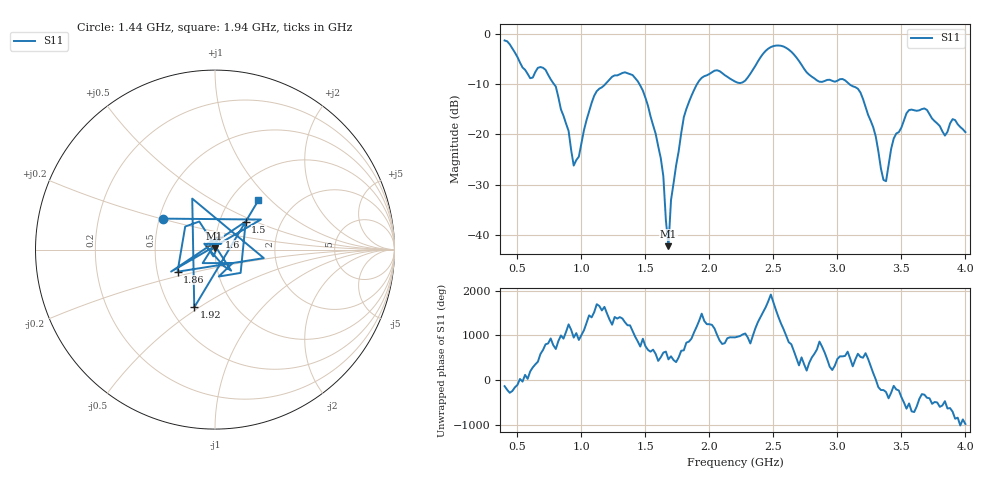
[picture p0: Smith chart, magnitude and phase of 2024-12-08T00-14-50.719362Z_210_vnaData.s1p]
!Created with skrf (http://scikit-rf.org).
# Hz S RI R 50.0
!freq ReS11 ImS11
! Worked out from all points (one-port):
!   181 points, 400 MHz to 4 GHz, reference 50 ohm
!   lowest |S11| = -42.2 dB at 1.68 GHz (marker M1), VSWR 1.02, Z = 49.8 + j0.745 ohm
!   |S11| at or under -10 dB: 785.7 MHz to 1.187 GHz (401.3 MHz wide, 40.7 % of centre); 1.453 GHz to 1.903 GHz (450.1 MHz wide, 26.8 % of centre); 3.094 GHz to end of sweep
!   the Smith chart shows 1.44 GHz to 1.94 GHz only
!   S11 on the Smith chart (normalised r, x): 1.44 GHz: 0.52, +0.20; 1.5 GHz: 1.33, +0.44; 1.6 GHz: 1.04, +0.15; 1.86 GHz: 0.64, -0.17; 1.92 GHz: 0.65, -0.48; 1.94 GHz: 1.33, +0.84
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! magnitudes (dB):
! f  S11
! 400 MHz  -1.3
! 600 MHz  -8.8
! 720 MHz  -7.2
! 860 MHz  -16.3
! 940 MHz  -26.2
! 1.1 GHz  -12.3
! 1.3 GHz  -8.0
! 1.44 GHz  -9.4
! 1.5 GHz  -12.7
! 1.6 GHz  -22.3
! 1.64 GHz  -28.3
! 1.68 GHz  -42.2
! 1.7 GHz  -33.1
! 1.76 GHz  -23.3
! 1.8 GHz  -16.6
! 1.86 GHz  -12.3
! 1.92 GHz  -9.3
! 1.94 GHz  -8.7
! 2.2 GHz  -9.5
! 2.48 GHz  -2.6
! 2.66 GHz  -4.1
! 2.84 GHz  -9.3
! 3.1 GHz  -10.1
! 3.2 GHz  -12.9
! 3.38 GHz  -29.3
! 3.44 GHz  -20.8
! 3.56 GHz  -15.2
! 4 GHz  -19.5
